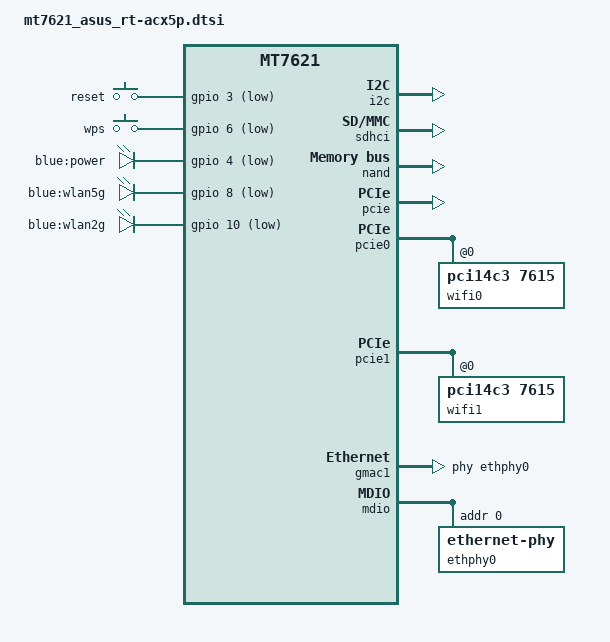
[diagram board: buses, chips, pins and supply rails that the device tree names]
// SPDX-License-Identifier: GPL-2.0-or-later OR MIT

#include "mt7621.dtsi"

#include <dt-bindings/gpio/gpio.h>
#include <dt-bindings/input/input.h>

/ {
	aliases {
		led-boot = &led_power;
		led-failsafe = &led_power;
		led-running = &led_power;
		led-upgrade = &led_power;
	};

	keys {
		compatible = "gpio-keys";

		reset {
			label = "reset";
			gpios = <&gpio 3 GPIO_ACTIVE_LOW>;
			linux,code = <KEY_RESTART>;
		};

		wps {
			label = "wps";
			gpios = <&gpio 6 GPIO_ACTIVE_LOW>;
			linux,code = <KEY_WPS_BUTTON>;
		};
	};

	leds {
		compatible = "gpio-leds";

		led_power: power {
			label = "blue:power";
			gpios = <&gpio 4 GPIO_ACTIVE_LOW>;
		};

		wlan5g {
			label = "blue:wlan5g";
			gpios = <&gpio 8 GPIO_ACTIVE_LOW>;
			linux,default-trigger = "phy1tpt";
		};

		wlan2g {
			label = "blue:wlan2g";
			gpios = <&gpio 10 GPIO_ACTIVE_LOW>;
			linux,default-trigger = "phy0tpt";
		};
	};
};

&i2c {
	status = "okay";
};

&sdhci {
	status = "okay";
};

&nand {
	status = "okay";

	partitions {
		compatible = "fixed-partitions";
		#address-cells = <1>;
		#size-cells = <1>;

		partition@0 {
			label = "u-boot";
			reg = <0x0 0xe0000>;
			read-only;
		};

		partition@e0000 {
			label = "u-boot-env";
			reg = <0xe0000 0x100000>;
			read-only;
		};

		factory: partition@1e0000 {
			label = "factory";
			reg = <0x1e0000 0x100000>;
			read-only;
		};

		factory2: partition@2e0000 {
			label = "factory2";
			reg = <0x2e0000 0x100000>;
			read-only;
		};

		partition@3e0000 {
			label = "kernel";
			reg = <0x3e0000 0x400000>;
		};

		partition@7e0000 {
			label = "ubi";
			reg = <0x7e0000 0x2e00000>;
		};

		partition@35e0000 {
			label = "firmware2";
			reg = <0x35e0000 0x3200000>;
		};
	};
};

&pcie {
	status = "okay";
};

&pcie0 {
	wifi0: wifi@0,0 {
		compatible = "pci14c3,7615";
		reg = <0x0000 0 0 0 0>;
		mediatek,mtd-eeprom = <&factory 0x0000>;
		ieee80211-freq-limit = <2400000 2500000>;
	};
};

&pcie1 {
	wifi1: wifi@0,0 {
		compatible = "pci14c3,7615";
		reg = <0x0000 0 0 0 0>;
		mediatek,mtd-eeprom = <&factory 0x8000>;
		ieee80211-freq-limit = <5000000 6000000>;
	};
};

&gmac0 {
	nvmem-cells = <&macaddr_factory_e000>;
	nvmem-cell-names = "mac-address";
};

&gmac1 {
	status = "okay";
	label = "wan";
	phy-handle = <&ethphy0>;

	nvmem-cells = <&macaddr_factory_e000>;
	nvmem-cell-names = "mac-address";
};

&mdio {
	ethphy0: ethernet-phy@0 {
		reg = <0>;
	};
};

&switch0 {
	ports {
		port@1 {
			status = "okay";
			label = "lan1";
		};

		port@2 {
			status = "okay";
			label = "lan2";
		};

		port@3 {
			status = "okay";
			label = "lan3";
		};

		port@4 {
			status = "okay";
			label = "lan4";
		};
	};
};

&state_default {
	gpio {
		groups = "uart2", "uart3", "i2c";
		function = "gpio";
	};
};

&factory {
	compatible = "nvmem-cells";
	#address-cells = <1>;
	#size-cells = <1>;

	macaddr_factory_e000: macaddr@e000 {
		reg = <0xe000 0x6>;
	};
};
